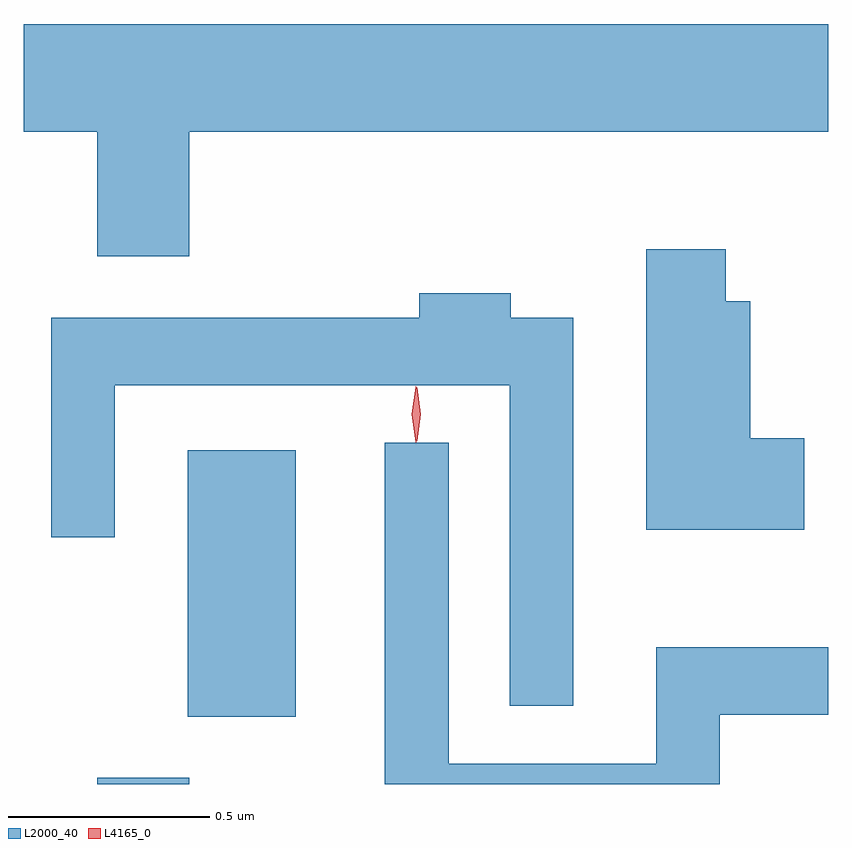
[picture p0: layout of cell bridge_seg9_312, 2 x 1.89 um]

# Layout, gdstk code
import gdstk
lib = gdstk.Library(unit=1e-6, precision=1e-09)
def R(c, l, rs):  # rectangles x0, y0, x1, y1
    for r in rs: c.add(gdstk.rectangle(r[:2], r[2:], *l))
def P(c, l, *ps):  # polygons
    for p in ps: c.add(gdstk.Polygon(p, *l))
L2000_40 = (2000, 40)
L4165_0 = (4165, 0)

bridge_seg9_312 = lib.new_cell('bridge_seg9_312')
R(bridge_seg9_312, L2000_40, [(980.201,2074.554,980.429,2074.569), (980.426,2074.721,980.694,2075.384)])
P(bridge_seg9_312, L2000_40, [(980.429,2076.176),(982.018,2076.176),(982.018,2076.444),(980.018,2076.444),(980.018,2076.176),(980.201,2076.176),(980.201,2075.866),(980.429,2075.866)],
  [(981.959,2075.414),(981.824,2075.414),(981.824,2075.754),(981.764,2075.754),(981.764,2075.884),(981.566,2075.884),(981.566,2075.186),(981.959,2075.186)],
  [(981.384,2075.714),(981.229,2075.714),(981.229,2075.774),(981.001,2075.774),(981.001,2075.714),(980.086,2075.714),(980.086,2075.168),(980.244,2075.168),(980.244,2075.546),(981.226,2075.546),(981.226,2074.748),(981.384,2074.748)],
  [(981.749,2074.726),(982.018,2074.726),(982.018,2074.894),(981.591,2074.894),(981.591,2074.604),(981.074,2074.604),(981.074,2075.403),(980.916,2075.403),(980.916,2074.554),(981.749,2074.554)])
P(bridge_seg9_312, L4165_0, [(980.993,2075.403),(980.993,2075.404),(980.983,2075.473),(980.993,2075.542),(980.993,2075.543),(980.994,2075.542),(981.003,2075.473),(980.994,2075.404)],
  [(980.995,2075.407),(980.995,2075.408),(980.985,2075.474),(980.995,2075.54),(980.995,2075.54),(980.996,2075.54),(981.005,2075.474),(980.996,2075.408)])

lib.write_gds('bridge_seg9_312.gds')
